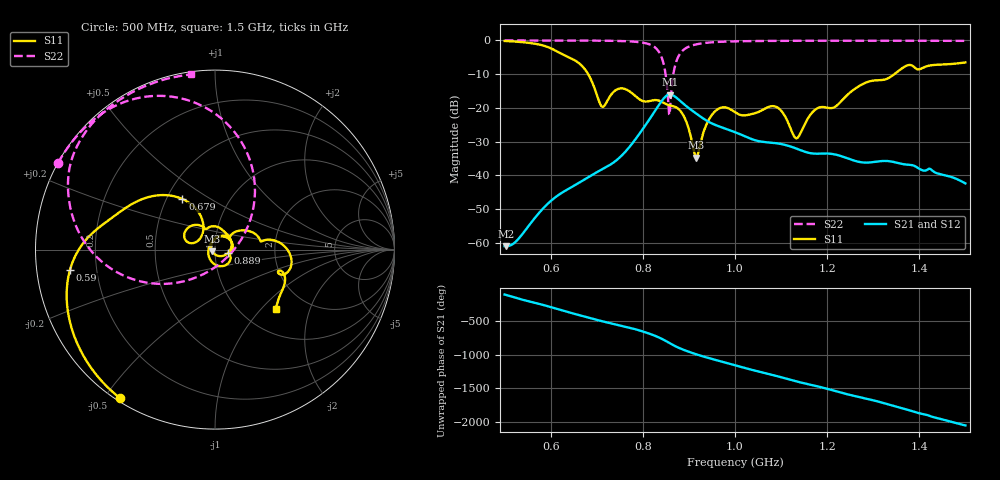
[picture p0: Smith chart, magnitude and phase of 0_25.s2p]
! TOUCHSTONE file generated by CST MICROWAVE STUDIO
! Date and time: Sat Oct 24 11:15:48 2020
! Project name: Scenario_1_Circular_Tissue_in_Line.cst
! Parameters = {L_HA=400; MT=2.54; Rad_Dielectric=30; Rad_Lower=7.3; Rad_Upper=30; a_HA=580; a_WG=246; b_HA=500; b_WG=121; c_HA=0; c_WG=187; d_feed=85; dx1=588.68; h_feed=15; h_lower=18; h_upper=40}
! Header version: 2018
! Port assignment regex: !\s*Touchstone port\s*([0-9]+)\s*=\s*(CST MWS port|CST DS port)\s*([0-9]+|Zmin|Zmax)\s*\(\"(.*)\"\)(\s*mode\s*([0-9]+))?.*
! Touchstone port assignment:
! Touchstone port 1 = CST MWS port 1 ("")
! Touchstone port 2 = CST MWS port 2 ("")
# GHz S DB R 50
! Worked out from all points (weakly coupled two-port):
!   1003 points, 500 MHz to 1.5 GHz, reference 50 ohm
!   highest |S21| = -16.03 dB at 859 MHz (marker M1); lowest = -61.0 dB at 503 MHz (marker M2)
!   lowest |S11| = -34.7 dB at 916 MHz (marker M3), VSWR 1.04, Z = 48.4 - j0.812 ohm
!   |S11| at or under -10 dB: 681.3 MHz to 1.346 GHz (664.5 MHz wide, 65.6 % of centre)
!   |S22| runs from -22.1 to 0.0 dB; largest |S21 - S12| = 0.00053
!   S11 on the Smith chart (normalised r, x): 500 MHz: 0.01, -0.55; 590 MHz: 0.10, -0.07; 679 MHz: 0.60, +0.38; 889 MHz: 1.16, -0.04; 1.5 GHz: 1.42, -1.20
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0.5  -0.16 -122.5  -60.95 -101.0  -60.95 -101.0  -0.01 151.1
0.503  -0.18 -123.8  -60.98 -106.6  -60.98 -106.6  -0.01 150.9
0.59  -1.77 -172.0  -48.88 91.5  -48.88 91.5  -0.02 144.8
0.667  -7.43 134.4  -41.74 -58.6  -41.74 -58.6  -0.04 138.3
0.679  -9.48 122.8  -40.74 -80.7  -40.74 -80.7  -0.05 137.1
0.712  -19.67 140.6  -38.18 -140.7  -38.18 -140.7  -0.08 133.3
0.749  -14.27 151.0  -34.78 159.4  -34.78 159.4  -0.16 127.6
0.79  -17.18 116.6  -28.16 87.7  -28.16 87.7  -0.47 116.9
0.834  -17.80 87.0  -19.30 -19.9  -19.30 -19.9  -3.20 83.3
0.848  -18.71 67.9  -16.79 -68.0  -16.79 -68.0  -8.87 52.2
0.859  -19.26 53.2  -16.03 -111.2  -16.03 -111.2  -20.51 -86.2
0.87  -19.68 33.5  -16.66 -152.1  -16.66 -152.1  -7.47 -154.2
0.889  -22.48 -14.6  -18.88 150.9  -18.88 151.0  -2.70 176.2
0.916  -34.70 -152.9  -21.69 85.5  -21.69 85.5  -1.17 159.2
0.954  -21.38 59.1  -24.86 8.4  -24.86 8.4  -0.51 147.9
1  -21.27 -8.2  -27.19 -80.1  -27.19 -80.1  -0.27 140.2
1.089  -19.66 -58.9  -30.45 123.1  -30.45 123.1  -0.13 130.6
1.133  -28.99 165.0  -32.04 41.1  -32.04 41.1  -0.11 126.8
1.167  -21.46 65.2  -33.48 -14.3  -33.48 -14.3  -0.10 124.1
1.334  -11.09 10.7  -35.78 53.5  -35.79 53.5  -0.09 111.4
1.376  -7.31 -8.4  -36.85 -27.0  -36.85 -27.0  -0.09 108.1
1.5  -6.53 -44.3  -42.38 101.7  -42.38 101.7  -0.13 97.8
